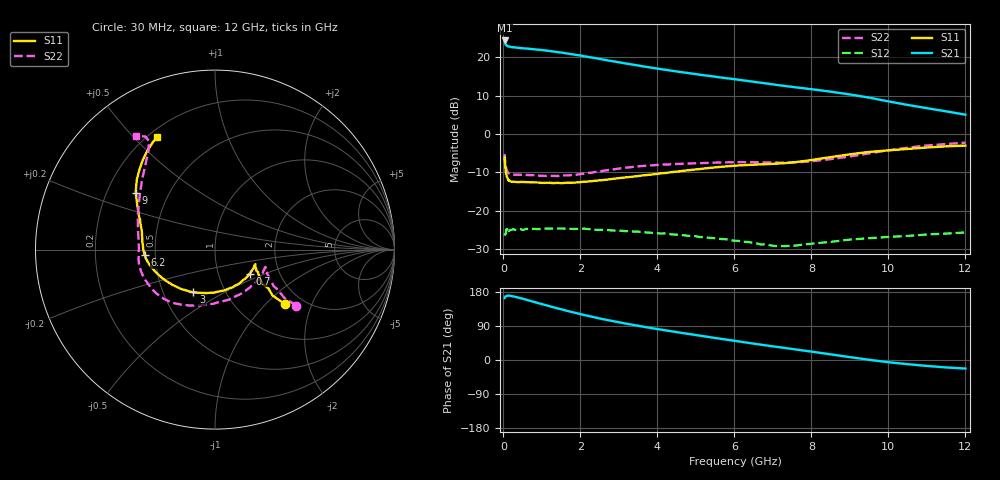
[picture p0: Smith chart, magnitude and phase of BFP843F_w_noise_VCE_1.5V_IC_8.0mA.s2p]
! Infineon Technologies  Discrete & RF Semiconductors
! BFP843F
! VCE =  1.5 V,  IC =  8.0 mA
! Common Emitter S-Parameters:  Aug 2013
# GHz  S  MA  R  50
!  f  S11  S21  S12  S22
! GHz  MAG  ANG  MAG  ANG  MAG  ANG  MAG  ANG
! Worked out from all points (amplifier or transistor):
!   103 points, 30 MHz to 12 GHz, reference 50 ohm
!   highest |S21| = 24.3 dB at 30 MHz (marker M1)
!   |S21| within 3 dB of that: start of sweep to 1.379 GHz
!   unconditionally stable (mu >= 1): 166.9 MHz to 748.3 MHz; 2.704 GHz to end of sweep
!   at 400 MHz: K = 1.01, MAG = 23.1 dB, |S12| = -24.8 dB
!   at 3.7 GHz: K = 1.08, MAG = 19.8 dB, |S12| = -25.6 dB
!   at 12 GHz: K = 1.38, MAG = 11.6 dB, |S12| = -25.6 dB
!   lowest NFmin = 0.80 dB at 450 MHz
!   S11 on the Smith chart (normalised r, x): 30 MHz: 1.63, -1.31; 700 MHz: 1.41, -0.40; 3 GHz: 0.71, -0.36; 6.2 GHz: 0.44, -0.03; 9 GHz: 0.32, +0.29; 12 GHz: 0.23, +0.59
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0.03  0.4945 -37.9  16.44 163.8  0.0477 30.1  0.5507 -34.6
0.04  0.4108 -38.6  15.48 164.7  0.0497 23.3  0.4687 -34.8
0.05  0.3678 -36.0  14.79 167.3  0.0501 25.2  0.4153 -32.6
0.07  0.3025 -33.7  14.28 168.7  0.0566 13.4  0.3592 -29.3
0.15  0.2477 -24.0  13.69 169.9  0.0555 5.6  0.3047 -20.5
0.7  0.2356 -34.6  12.76 156.0  0.0578 0.9  0.2919 -34.5
1  0.2311 -47.7  12.34 147.4  0.0588 -0.4  0.2865 -48.1
1.3  0.2296 -60.3  11.8 139.1  0.0587 -2.5  0.2852 -61.8
1.7  0.2333 -76.9  11.05 128.5  0.0589 -4.1  0.2894 -79.5
2.1  0.2399 -91.5  10.24 118.6  0.0589 -5.9  0.3052 -95.4
2.5  0.2494 -104.4  9.457 109.6  0.0569 -7.9  0.3264 -108.1
3  0.2667 -117.0  8.547 99.6  0.0556 -9.6  0.3553 -119.8
3.6  0.2887 -130.0  7.609 88.5  0.0534 -11.5  0.3836 -130.4
4.1  0.3083 -140.3  6.957 80.1  0.0508 -12.3  0.398 -137.7
5  0.3464 -156.4  5.994 65.8  0.0468 -12.5  0.4159 -150.0
6.1  0.3897 -173.6  5.075 49.2  0.0409 -11.5  0.4301 -165.1
6.2  0.3916 -175.4  4.997 47.6  0.0397 -11.3  0.4296 -166.5
7.3  0.4174 167.1  4.221 31.8  0.0348 0.7  0.4245 178.0
8.5  0.5005 150.0  3.549 14.9  0.0396 12.2  0.4709 155.9
9  0.5443 144.3  3.266 7.6  0.0424 14.1  0.5103 145.6
10.5  0.6392 129.2  2.387 -11.0  0.0473 16.7  0.6635 124.0
12  0.7068 117.2  1.783 -22.5  0.0525 20.9  0.7703 124.7
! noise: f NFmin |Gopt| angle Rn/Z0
0.45  0.8  0.07  14  0.04
0.9  0.8  0.07  26  0.04
1.5  0.84  0.07  41  0.05
1.9  0.9  0.08  59  0.05
2.4  0.94  0.08  75  0.05
3.5  1  0.1  108  0.11
5.5  1.11  0.16  173  0.16
10  1.71  0.37  -118  0.26
